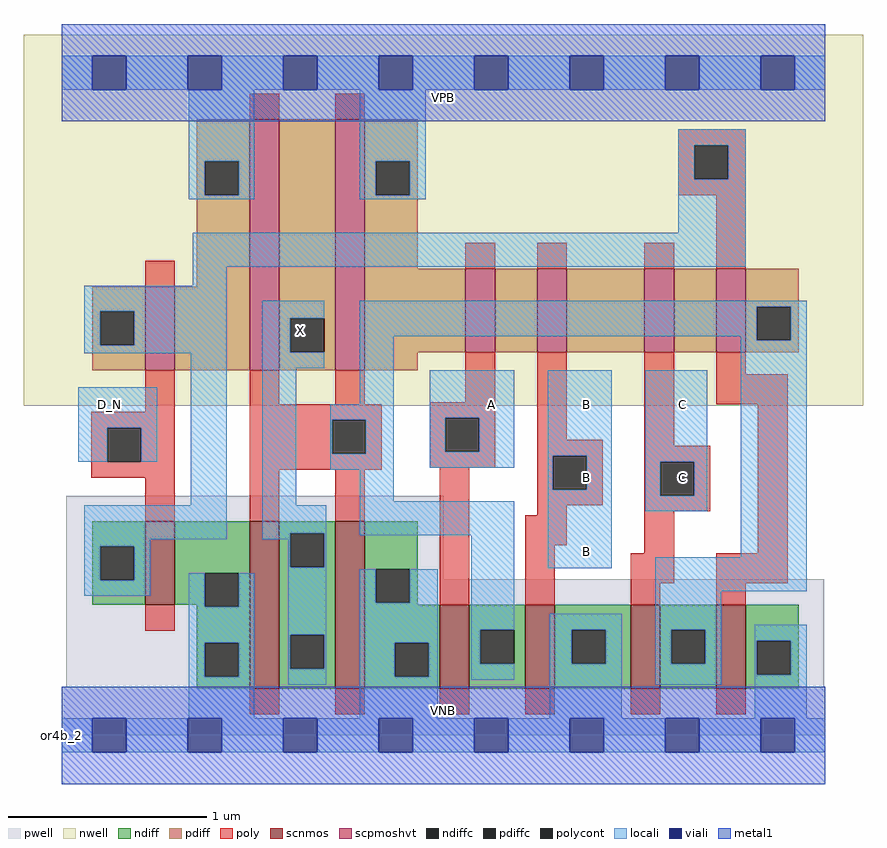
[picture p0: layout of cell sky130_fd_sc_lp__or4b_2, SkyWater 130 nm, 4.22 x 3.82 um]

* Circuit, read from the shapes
.subckt sky130_fd_sc_lp__or4b_2 A B C D_N VGND VNB VPB VPWR X
XM1 VGND D_N n1 VNB sky130_fd_pr__nfet_01v8 w=0.42 l=0.15
XM2 X n2 VGND VNB sky130_fd_pr__nfet_01v8 w=0.84 l=0.15 m=2
XM3 n2 A VGND VNB sky130_fd_pr__nfet_01v8 w=0.42 l=0.15
XM4 VGND B n2 VNB sky130_fd_pr__nfet_01v8 w=0.42 l=0.15
XM5 n2 C VGND VNB sky130_fd_pr__nfet_01v8 w=0.42 l=0.15
XM6 VGND n1 n2 VNB sky130_fd_pr__nfet_01v8 w=0.42 l=0.15
XM7 VPWR D_N n1 VPB sky130_fd_pr__pfet_01v8_hvt w=0.42 l=0.15
XM8 X n2 VPWR VPB sky130_fd_pr__pfet_01v8_hvt w=1.26 l=0.15 m=2
XM9 n3 A VPWR VPB sky130_fd_pr__pfet_01v8_hvt w=0.42 l=0.15
XM10 n4 B n3 VPB sky130_fd_pr__pfet_01v8_hvt w=0.42 l=0.15
XM11 n5 C n4 VPB sky130_fd_pr__pfet_01v8_hvt w=0.42 l=0.15
XM12 n2 n1 n5 VPB sky130_fd_pr__pfet_01v8_hvt w=0.42 l=0.15
.ends

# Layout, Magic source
magic
tech sky130A
magscale 1 2
<< nwell >>
rect -38 331 806 704
<< pwell >>
rect 5 157 384 241
rect 5 49 767 157
rect 0 0 768 49
<< scnmos >>
rect 84 131 114 215
rect 189 47 219 215
rect 275 47 305 215
rect 380 47 410 131
rect 466 47 496 131
rect 572 47 602 131
rect 658 47 688 131
<< scpmoshvt >>
rect 84 367 114 451
rect 189 367 219 619
rect 275 367 305 619
rect 406 385 436 469
rect 478 385 508 469
rect 586 385 616 469
rect 658 385 688 469
<< ndiff >>
rect 31 190 84 215
rect 31 156 39 190
rect 73 156 84 190
rect 31 131 84 156
rect 114 163 189 215
rect 114 131 144 163
rect 136 129 144 131
rect 178 129 189 163
rect 136 93 189 129
rect 136 59 144 93
rect 178 59 189 93
rect 136 47 189 59
rect 219 203 275 215
rect 219 169 230 203
rect 264 169 275 203
rect 219 101 275 169
rect 219 67 230 101
rect 264 67 275 101
rect 219 47 275 67
rect 305 167 358 215
rect 305 133 316 167
rect 350 133 358 167
rect 305 131 358 133
rect 305 93 380 131
rect 305 59 335 93
rect 369 59 380 93
rect 305 47 380 59
rect 410 106 466 131
rect 410 72 421 106
rect 455 72 466 106
rect 410 47 466 72
rect 496 106 572 131
rect 496 72 513 106
rect 547 72 572 106
rect 496 47 572 72
rect 602 106 658 131
rect 602 72 613 106
rect 647 72 658 106
rect 602 47 658 72
rect 688 95 741 131
rect 688 61 699 95
rect 733 61 741 95
rect 688 47 741 61
<< pdiff >>
rect 136 577 189 619
rect 136 543 144 577
rect 178 543 189 577
rect 136 451 189 543
rect 31 426 84 451
rect 31 392 39 426
rect 73 392 84 426
rect 31 367 84 392
rect 114 367 189 451
rect 219 419 275 619
rect 219 385 230 419
rect 264 385 275 419
rect 219 367 275 385
rect 305 577 358 619
rect 305 543 316 577
rect 350 543 358 577
rect 305 469 358 543
rect 305 385 406 469
rect 436 385 478 469
rect 508 385 586 469
rect 616 385 658 469
rect 688 431 741 469
rect 688 397 699 431
rect 733 397 741 431
rect 688 385 741 397
rect 305 367 358 385
<< ndiffc >>
rect 39 156 73 190
rect 144 129 178 163
rect 144 59 178 93
rect 230 169 264 203
rect 230 67 264 101
rect 316 133 350 167
rect 335 59 369 93
rect 421 72 455 106
rect 513 72 547 106
rect 613 72 647 106
rect 699 61 733 95
<< pdiffc >>
rect 144 543 178 577
rect 39 392 73 426
rect 230 385 264 419
rect 316 543 350 577
rect 699 397 733 431
<< poly >>
rect 189 619 219 645
rect 275 619 305 645
rect 84 451 114 477
rect 620 593 688 609
rect 620 559 636 593
rect 670 559 688 593
rect 620 543 688 559
rect 406 469 436 495
rect 478 469 508 495
rect 586 469 616 495
rect 658 469 688 543
rect 84 325 114 367
rect 30 309 114 325
rect 30 275 46 309
rect 80 275 114 309
rect 30 259 114 275
rect 84 215 114 259
rect 189 333 219 367
rect 275 333 305 367
rect 406 335 436 385
rect 189 317 322 333
rect 189 283 272 317
rect 306 283 322 317
rect 189 267 322 283
rect 370 319 436 335
rect 370 285 386 319
rect 420 285 436 319
rect 370 269 436 285
rect 478 297 508 385
rect 478 281 544 297
rect 189 215 219 267
rect 275 215 305 267
rect 84 105 114 131
rect 380 131 410 269
rect 478 247 494 281
rect 528 247 544 281
rect 478 231 544 247
rect 586 291 616 385
rect 658 363 688 385
rect 658 333 730 363
rect 586 275 652 291
rect 586 241 602 275
rect 636 241 652 275
rect 478 221 508 231
rect 466 191 508 221
rect 586 225 652 241
rect 466 131 496 191
rect 586 183 616 225
rect 700 183 730 333
rect 572 153 616 183
rect 658 153 730 183
rect 572 131 602 153
rect 658 131 688 153
rect 189 21 219 47
rect 275 21 305 47
rect 380 21 410 47
rect 466 21 496 47
rect 572 21 602 47
rect 658 21 688 47
<< polycont >>
rect 636 559 670 593
rect 46 275 80 309
rect 272 283 306 317
rect 386 285 420 319
rect 494 247 528 281
rect 602 241 636 275
<< locali >>
rect 0 649 31 683
rect 65 649 127 683
rect 161 649 223 683
rect 257 649 319 683
rect 353 649 415 683
rect 449 649 511 683
rect 545 649 607 683
rect 641 649 703 683
rect 737 649 768 683
rect 128 577 194 649
rect 128 543 144 577
rect 178 543 194 577
rect 128 539 194 543
rect 300 577 366 649
rect 300 543 316 577
rect 350 543 366 577
rect 300 539 366 543
rect 620 593 688 609
rect 620 559 636 593
rect 670 559 688 593
rect 620 505 688 559
rect 132 471 688 505
rect 132 452 166 471
rect 23 426 166 452
rect 23 392 39 426
rect 73 392 166 426
rect 23 384 166 392
rect 17 309 96 350
rect 17 275 46 309
rect 80 275 96 309
rect 130 231 166 384
rect 23 197 166 231
rect 202 419 264 437
rect 202 385 230 419
rect 202 369 264 385
rect 300 431 749 437
rect 300 401 699 431
rect 202 231 236 369
rect 300 333 334 401
rect 683 397 699 401
rect 733 397 749 431
rect 270 317 334 333
rect 270 283 272 317
rect 306 283 334 317
rect 270 267 334 283
rect 370 319 455 367
rect 370 285 386 319
rect 420 285 455 319
rect 370 269 455 285
rect 489 281 553 367
rect 300 235 334 267
rect 489 247 494 281
rect 528 247 553 281
rect 202 203 266 231
rect 202 197 230 203
rect 23 190 89 197
rect 23 156 39 190
rect 73 156 89 190
rect 228 169 230 197
rect 264 169 266 203
rect 300 201 455 235
rect 23 140 89 156
rect 128 129 144 163
rect 178 129 194 163
rect 128 93 194 129
rect 128 59 144 93
rect 178 59 194 93
rect 128 17 194 59
rect 228 101 266 169
rect 228 67 230 101
rect 264 67 266 101
rect 228 51 266 67
rect 300 133 316 167
rect 350 133 378 167
rect 300 93 378 133
rect 300 59 335 93
rect 369 59 378 93
rect 300 17 378 59
rect 412 106 455 201
rect 489 168 553 247
rect 587 275 649 367
rect 587 241 602 275
rect 636 241 649 275
rect 587 225 649 241
rect 683 179 749 397
rect 597 145 749 179
rect 412 72 421 106
rect 412 56 455 72
rect 491 106 563 122
rect 491 72 513 106
rect 547 72 563 106
rect 491 17 563 72
rect 597 106 663 145
rect 597 72 613 106
rect 647 72 663 106
rect 597 51 663 72
rect 697 95 749 111
rect 697 61 699 95
rect 733 61 749 95
rect 697 17 749 61
rect 0 -17 31 17
rect 65 -17 127 17
rect 161 -17 223 17
rect 257 -17 319 17
rect 353 -17 415 17
rect 449 -17 511 17
rect 545 -17 607 17
rect 641 -17 703 17
rect 737 -17 768 17
<< viali >>
rect 31 649 65 683
rect 127 649 161 683
rect 223 649 257 683
rect 319 649 353 683
rect 415 649 449 683
rect 511 649 545 683
rect 607 649 641 683
rect 703 649 737 683
rect 31 -17 65 17
rect 127 -17 161 17
rect 223 -17 257 17
rect 319 -17 353 17
rect 415 -17 449 17
rect 511 -17 545 17
rect 607 -17 641 17
rect 703 -17 737 17
<< metal1 >>
rect 0 683 768 715
rect 0 649 31 683
rect 65 649 127 683
rect 161 649 223 683
rect 257 649 319 683
rect 353 649 415 683
rect 449 649 511 683
rect 545 649 607 683
rect 641 649 703 683
rect 737 649 768 683
rect 0 617 768 649
rect 0 17 768 49
rect 0 -17 31 17
rect 65 -17 127 17
rect 161 -17 223 17
rect 257 -17 319 17
rect 353 -17 415 17
rect 449 -17 511 17
rect 545 -17 607 17
rect 641 -17 703 17
rect 737 -17 768 17
rect 0 -49 768 -17
<< labels >>
flabel pwell s 0 0 768 49 0 FreeSans 200 0 0 0 VNB
port 6 nsew ground bidirectional
flabel nwell s 0 617 768 666 0 FreeSans 200 0 0 0 VPB
port 7 nsew power bidirectional
rlabel comment s 0 0 0 0 4 or4b_2
flabel metal1 s 0 617 768 666 0 FreeSans 340 0 0 0 VPWR
port 8 nsew power bidirectional
flabel metal1 s 0 0 768 49 0 FreeSans 340 0 0 0 VGND
port 5 nsew ground bidirectional
flabel locali s 511 168 545 202 0 FreeSans 340 0 0 0 B
port 2 nsew signal input
flabel locali s 511 242 545 276 0 FreeSans 340 0 0 0 B
port 2 nsew signal input
flabel locali s 511 316 545 350 0 FreeSans 340 0 0 0 B
port 2 nsew signal input
flabel locali s 607 242 641 276 0 FreeSans 340 0 0 0 C
port 3 nsew signal input
flabel locali s 607 316 641 350 0 FreeSans 340 0 0 0 C
port 3 nsew signal input
flabel locali s 31 316 65 350 0 FreeSans 340 0 0 0 D_N
port 4 nsew signal input
flabel locali s 223 390 257 424 0 FreeSans 340 0 0 0 X
port 9 nsew signal output
flabel locali s 415 316 449 350 0 FreeSans 340 0 0 0 A
port 1 nsew signal input
<< properties >>
string LEFsite unit
string LEFclass CORE
string FIXED_BBOX 0 0 768 666
string GDS_FILE $PDKPATH/libs.ref/sky130_fd_sc_lp/gds/sky130_fd_sc_lp.gds
string LEFsymmetry X Y R90
string GDS_END 2932782
string GDS_START 2925920
<< end >>
